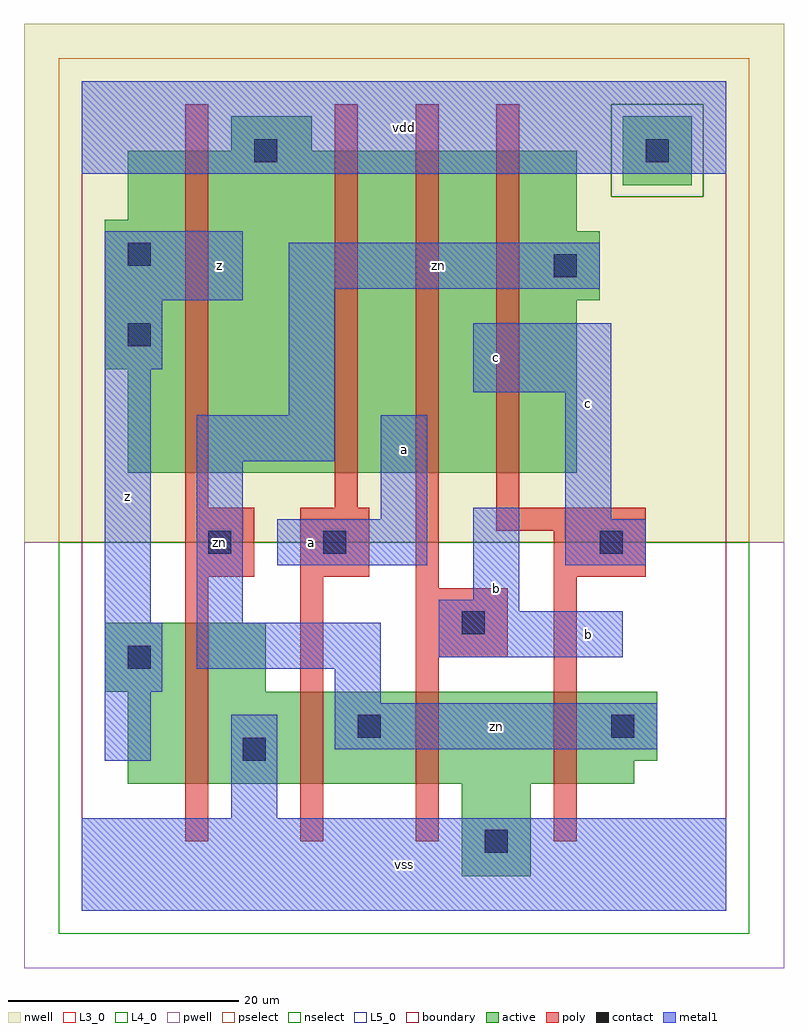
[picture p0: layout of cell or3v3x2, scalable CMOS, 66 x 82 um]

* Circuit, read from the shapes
.subckt or3v3x2 a b c vdd vss z zn
M1 vss zn z VSUBS nfet w=14u l=2u
M2 zn a vss VSUBS nfet w=8u l=2u
M3 vss b zn VSUBS nfet w=8u l=2u
M4 zn c vss VSUBS nfet w=8u l=2u
M5 vdd zn z vdd pfet w=28u l=2u
M6 n1 a vdd vdd pfet w=28u l=2u
M7 n2 b n1 vdd pfet w=28u l=2u
M8 zn c n2 vdd pfet w=28u l=2u
.ends

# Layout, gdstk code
import gdstk
lib = gdstk.Library(unit=1e-6, precision=1e-09)
def R(c, l, rs):  # rectangles x0, y0, x1, y1
    for r in rs: c.add(gdstk.rectangle(r[:2], r[2:], *l))
L3_0 = (3, 0)
L4_0 = (4, 0)
L5_0 = (5, 0)
contact = (25, 0)
pwell = (41, 0)
nwell = (42, 0)
active = (43, 0)
pselect = (44, 0)
nselect = (45, 0)
poly = (46, 0)
metal1 = (49, 0)
boundary = (63, 0)

or3v3x2 = lib.new_cell('or3v3x2')
R(or3v3x2, L3_0, [(33,3,39,11), (4,11,48,13), (4,13,50,19), (2,19,16,25)])
R(or3v3x2, L4_0, [(4,38,43,47), (2,47,43,53), (2,53,45,59), (2,59,43,60), (4,60,43,66), (13,66,20,69)])
R(or3v3x2, L5_0, [(47,63,53,69)])
R(or3v3x2, contact, [(35,5,37,7), (14,13,16,15), (24,15,26,17), (46,15,48,17), (4,21,6,23), (33,24,35,26), (11,31,13,33), (21,31,23,33), (45,31,47,33), (4,49,6,51), (41,55,43,57), (4,56,6,58), (15,65,17,67), (49,65,51,67)])
R(or3v3x2, pwell, [(-5,-5,61,32)])
R(or3v3x2, nwell, [(-5,32,61,77)])
R(or3v3x2, active, [(33,3,39,11), (4,11,48,13), (4,13,50,19), (2,19,16,25), (4,38,43,47), (2,47,43,53), (2,53,45,59), (2,59,43,60), (4,60,43,66), (47,63,53,69), (13,66,20,69)])
R(or3v3x2, pselect, [(-2,32,58,62), (-2,62,46,70), (54,62,58,70), (-2,70,58,74)])
R(or3v3x2, nselect, [(-2,-2,58,32), (46,62,54,70)])
R(or3v3x2, poly, [(9,6,11,29), (19,6,21,29), (29,6,31,22), (41,6,43,29), (29,22,37,28), (29,28,31,70), (9,29,15,35), (19,29,25,35), (41,29,49,33), (36,33,49,35), (9,35,11,70), (22,35,24,70), (36,35,38,70)])
R(or3v3x2, metal1, [(0,0,56,8), (13,8,17,17), (2,13,6,19), (22,14,50,18), (22,18,26,21), (2,19,7,25), (10,21,26,25), (31,22,47,26), (2,25,6,47), (10,25,14,39), (31,26,38,27), (34,27,38,35), (17,30,30,34), (42,30,49,34), (26,34,30,43), (42,34,46,45), (10,39,22,43), (18,43,22,54), (34,45,46,51), (2,47,7,53), (2,53,14,59), (18,54,45,58), (0,64,56,72)])
R(or3v3x2, boundary, [(0,0,56,72)])
or3v3x2.add(gdstk.Label('zn', (12,32), layer=49, texttype=0))
or3v3x2.add(gdstk.Label('zn', (36,16), layer=49, texttype=0))
or3v3x2.add(gdstk.Label('zn', (31,56), layer=49, texttype=0))
or3v3x2.add(gdstk.Label('z', (4,36), layer=49, texttype=0))
or3v3x2.add(gdstk.Label('a', (20,32), layer=49, texttype=0))
or3v3x2.add(gdstk.Label('z', (12,56), layer=49, texttype=0))
or3v3x2.add(gdstk.Label('vss', (28,4), layer=49, texttype=0))
or3v3x2.add(gdstk.Label('b', (36,28), layer=49, texttype=0))
or3v3x2.add(gdstk.Label('a', (28,40), layer=49, texttype=0))
or3v3x2.add(gdstk.Label('c', (36,48), layer=49, texttype=0))
or3v3x2.add(gdstk.Label('vdd', (28,68), layer=49, texttype=0))
or3v3x2.add(gdstk.Label('b', (44,24), layer=49, texttype=0))
or3v3x2.add(gdstk.Label('c', (44,44), layer=49, texttype=0))

lib.write_gds('or3v3x2.gds')
